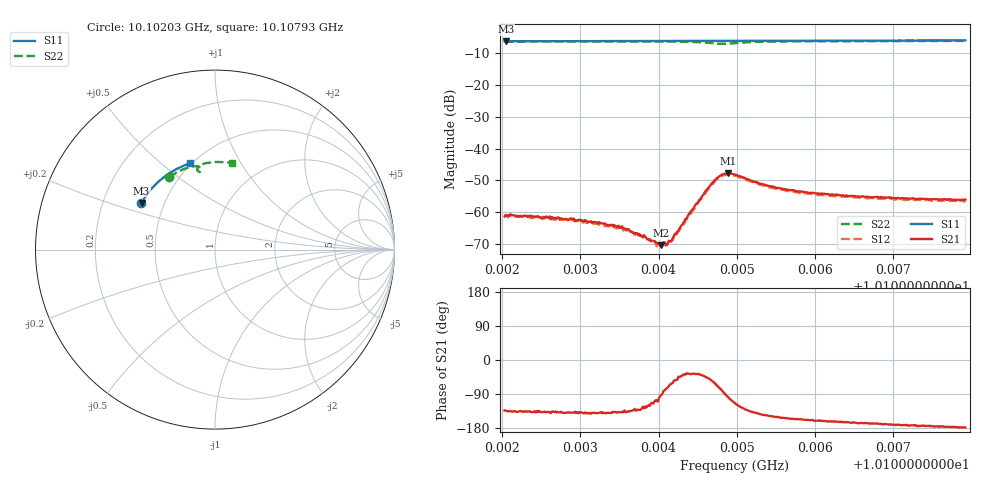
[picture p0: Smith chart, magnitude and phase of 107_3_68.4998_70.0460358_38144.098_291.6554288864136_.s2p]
#  HZ  S  RI  R  50.00
! Rohde & Schwarz Vector Network Analyzer
! Rohde-Schwarz,ZNB20-2Port,1311601062101988,3.16
! Created: UTC 3/20/2024, 5:08:33 PM
! freq[Hz]  re:S11  im:S11  re:S21  im:S21  re:S12  im:S12  re:S22  im:S22
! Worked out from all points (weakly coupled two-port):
!   401 points, 10.10203 GHz to 10.10793 GHz, reference 50 ohm
!   highest |S21| = -47.74 dB at 10.10489 GHz (marker M1); lowest = -70.4 dB at 10.10404 GHz (marker M2)
!   lowest |S11| = -6.3 dB at 10.10204 GHz (marker M3), VSWR 2.88, Z = 18.6 + j12.7 ohm
!   |S11| at or under -10 dB: nowhere
!   |S22| runs from -7.1 to -6.2 dB; largest |S21 - S12| = 0.00042
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1.0102029e10  -0.4099 0.2593  -0.000587 -0.000626  -0.000574 -0.000661  -0.2542 0.4038
1.0102043e10  -0.4093 0.2602  -0.000615 -0.000649  -0.000591 -0.000691  -0.2536 0.4044
1.0102132e10  -0.4068 0.2648  -0.000647 -0.000618  -0.000561 -0.000653  -0.2489 0.4078
1.0102575e10  -0.3925 0.2877  -0.0006 -0.000561  -0.000552 -0.000575  -0.2242 0.4232
1.0103017e10  -0.377 0.3098  -0.000561 -0.000503  -0.000479 -0.000512  -0.1986 0.437
1.010343e10  -0.3615 0.3294  -0.000456 -0.000427  -0.000404 -0.000435  -0.1733 0.4486
1.0103607e10  -0.3546 0.3377  -0.000389 -0.00038  -0.000356 -0.000409  -0.1618 0.453
1.0103888e10  -0.3433 0.3503  -0.000184 -0.000307  -0.000145 -0.000353  -0.1427 0.4594
1.0103962e10  -0.3402 0.3537  -9.37e-05 -0.000323  -9.01e-05 -0.000323  -0.1374 0.4608
1.0104006e10  -0.3383 0.3556  -5.41e-05 -0.000307  -2.8e-05 -0.000302  -0.1341 0.4617
1.0104035e10  -0.3371 0.3569  -1.47e-05 -0.000303  7.67e-06 -0.000315  -0.132 0.4622
1.0104124e10  -0.3333 0.3608  0.00011 -0.000321  0.00013 -0.000301  -0.1252 0.4636
1.0104198e10  -0.3302 0.3639  0.000247 -0.000345  0.000273 -0.000321  -0.1193 0.4646
1.0104522e10  -0.3159 0.3776  0.00124 -0.000955  0.00123 -0.000822  -0.0898 0.4612
1.0104714e10  -0.3071 0.3851  0.00155 -0.0027  0.00172 -0.00244  -0.0777 0.4438
1.0104803e10  -0.3031 0.3884  0.000772 -0.00372  0.00107 -0.0035  -0.0832 0.4349
1.0104891e10  -0.2991 0.3919  -0.000554 -0.00407  -0.000198 -0.00392  -0.0935 0.4353
1.010498e10  -0.295 0.3952  -0.00158 -0.00355  -0.00123 -0.00354  -0.0987 0.4442
1.0105452e10  -0.2724 0.4127  -0.00217 -0.00133  -0.00194 -0.00145  -0.0703 0.4754
1.0105968e10  -0.2465 0.4303  -0.00188 -0.000754  -0.00171 -0.00085  -0.0332 0.4846
1.0106957e10  -0.1939 0.4589  -0.00168 -0.000285  -0.00157 -0.000428  0.0328 0.4883
1.0107931e10  -0.1391 0.4803  -0.00157 -5.03e-05  -0.00149 -0.000184  0.0955 0.4825
